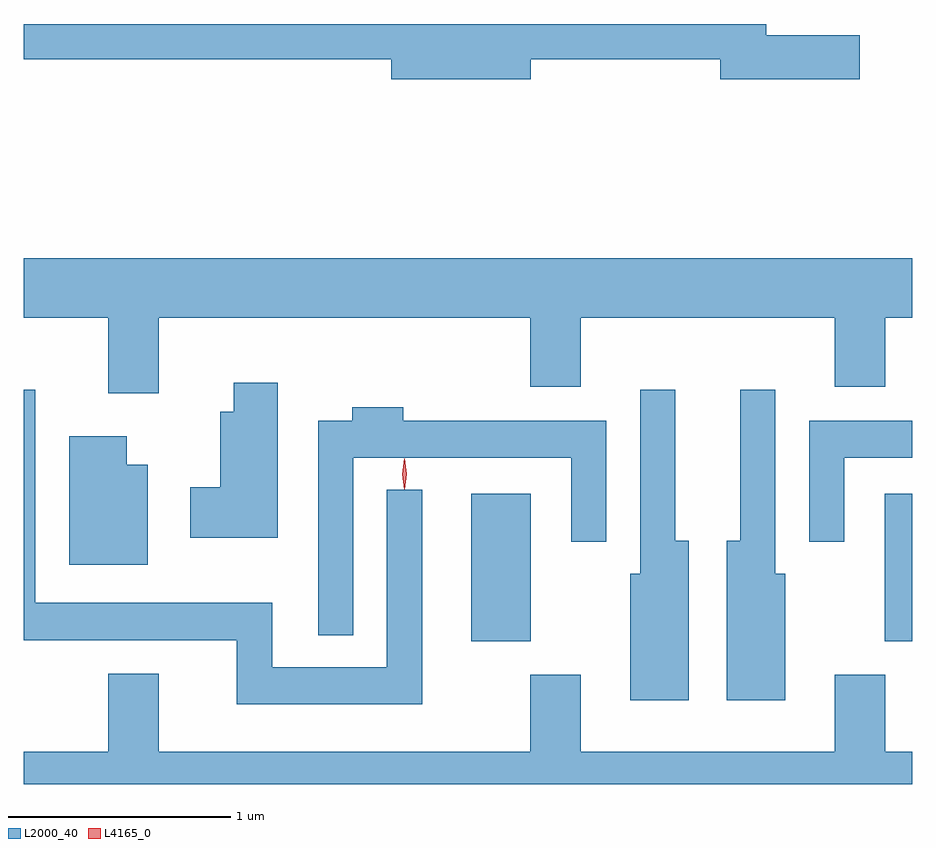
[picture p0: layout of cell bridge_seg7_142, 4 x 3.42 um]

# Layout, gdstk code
import gdstk
lib = gdstk.Library(unit=1e-6, precision=1e-09)
def R(c, l, rs):  # rectangles x0, y0, x1, y1
    for r in rs: c.add(gdstk.rectangle(r[:2], r[2:], *l))
def P(c, l, *ps):  # polygons
    for p in ps: c.add(gdstk.Polygon(p, *l))
L2000_40 = (2000, 40)
L4165_0 = (4165, 0)

bridge_seg7_142 = lib.new_cell('bridge_seg7_142')
R(bridge_seg7_142, L2000_40, [(1480.656,1715.081,1480.924,1715.744), (1482.516,1715.081,1482.641,1715.744)])
P(bridge_seg7_142, L2000_40, [(1480.924,1717.701),(1481.776,1717.701),(1481.776,1717.611),(1482.404,1717.611),(1482.404,1717.809),(1481.984,1717.809),(1481.984,1717.859),(1478.641,1717.859),(1478.641,1717.701),(1480.296,1717.701),(1480.296,1717.611),(1480.924,1717.611)],
  [(1479.249,1716.536),(1480.921,1716.536),(1480.921,1716.226),(1481.149,1716.226),(1481.149,1716.536),(1482.291,1716.536),(1482.291,1716.226),(1482.519,1716.226),(1482.519,1716.536),(1482.641,1716.536),(1482.641,1716.804),(1478.641,1716.804),(1478.641,1716.536),(1479.021,1716.536),(1479.021,1716.196),(1479.249,1716.196)],
  [(1479.784,1716.244),(1479.586,1716.244),(1479.586,1716.114),(1479.526,1716.114),(1479.526,1715.774),(1479.391,1715.774),(1479.391,1715.546),(1479.784,1715.546)],
  [(1482.069,1715.384),(1482.024,1715.384),(1482.024,1716.213),(1481.866,1716.213),(1481.866,1715.534),(1481.806,1715.534),(1481.806,1714.816),(1482.069,1714.816)],
  [(1480.434,1715.763),(1480.276,1715.763),(1480.276,1714.964),(1479.759,1714.964),(1479.759,1715.254),(1478.694,1715.254),(1478.694,1716.213),(1478.641,1716.213),(1478.641,1715.086),(1479.601,1715.086),(1479.601,1714.796),(1480.434,1714.796)],
  [(1481.634,1715.534),(1481.574,1715.534),(1481.574,1716.213),(1481.416,1716.213),(1481.416,1715.384),(1481.371,1715.384),(1481.371,1714.816),(1481.634,1714.816)],
  [(1480.124,1715.906),(1481.106,1715.906),(1481.106,1715.528),(1481.264,1715.528),(1481.264,1716.074),(1480.349,1716.074),(1480.349,1716.134),(1480.121,1716.134),(1480.121,1716.074),(1479.966,1716.074),(1479.966,1715.108),(1480.124,1715.108)],
  [(1482.334,1715.906),(1482.641,1715.906),(1482.641,1716.074),(1482.176,1716.074),(1482.176,1715.528),(1482.334,1715.528)],
  [(1479.199,1715.874),(1479.104,1715.874),(1479.104,1716.004),(1478.846,1716.004),(1478.846,1715.426),(1479.199,1715.426)],
  [(1482.641,1714.584),(1482.519,1714.584),(1482.519,1714.929),(1482.291,1714.929),(1482.291,1714.584),(1481.149,1714.584),(1481.149,1714.929),(1480.921,1714.929),(1480.921,1714.584),(1479.249,1714.584),(1479.249,1714.934),(1479.021,1714.934),(1479.021,1714.584),(1478.641,1714.584),(1478.641,1714.438),(1482.641,1714.438)])
P(bridge_seg7_142, L4165_0, [(1480.354,1715.764),(1480.345,1715.833),(1480.354,1715.903),(1480.355,1715.903),(1480.356,1715.903),(1480.365,1715.833),(1480.356,1715.764),(1480.355,1715.764)],
  [(1480.356,1715.767),(1480.356,1715.767),(1480.346,1715.834),(1480.356,1715.9),(1480.356,1715.901),(1480.356,1715.9),(1480.366,1715.834),(1480.356,1715.767)])

lib.write_gds('bridge_seg7_142.gds')
